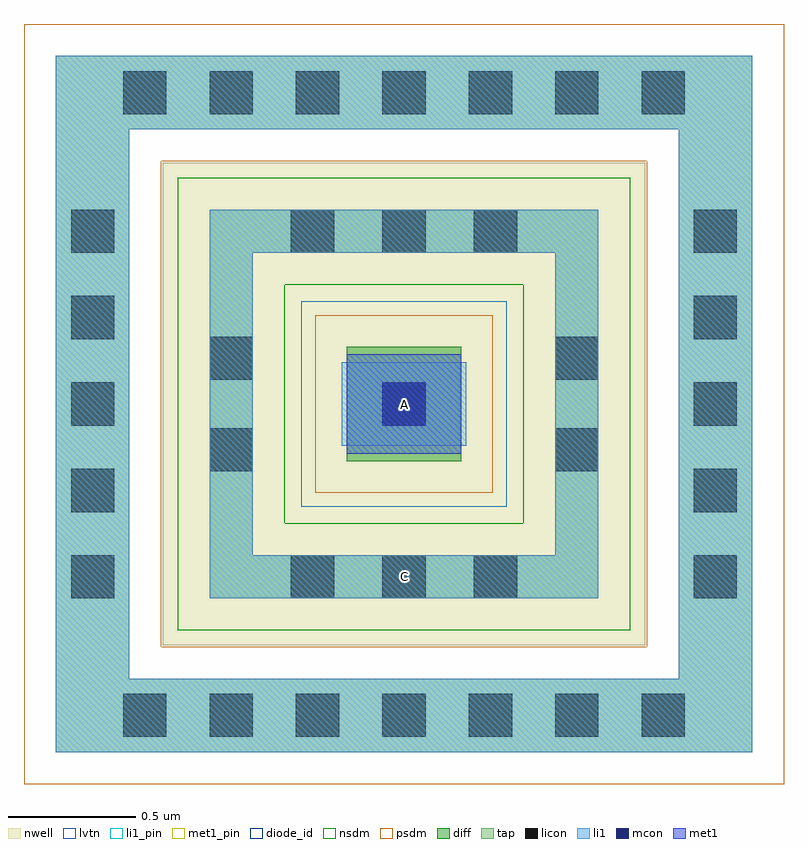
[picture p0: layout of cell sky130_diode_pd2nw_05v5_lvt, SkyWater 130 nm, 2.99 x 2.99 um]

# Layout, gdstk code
import gdstk
lib = gdstk.Library(unit=1e-6, precision=1e-09)
def R(c, l, rs):  # rectangles x0, y0, x1, y1
    for r in rs: c.add(gdstk.rectangle(r[:2], r[2:], *l))
def A(c, l, x, y, w, h, nx, ny, dx, dy):  # array of equal rectangles
    R(c, l, [(x+i*dx, y+j*dy, x+i*dx+w, y+j*dy+h) for i in range(nx) for j in range(ny)])
def P(c, l, *ps):  # polygons
    for p in ps: c.add(gdstk.Polygon(p, *l))
nwell = (64, 20)
diff = (65, 20)
tap = (65, 44)
licon = (66, 44)
li1_pin = (67, 16)
li1 = (67, 20)
mcon = (67, 44)
met1_pin = (68, 16)
met1 = (68, 20)
diode_id = (81, 23)
nsdm = (93, 44)
psdm = (94, 20)
lvtn = (125, 44)

sky130_diode_pd2nw_05v5_ = lib.new_cell('sky130_diode_pd2nw_05v5_lvt')
R(sky130_diode_pd2nw_05v5_, nwell, [(-0.725,-0.725,1.175,1.175)])
R(sky130_diode_pd2nw_05v5_, diff, [(0,0,0.45,0.45)])
P(sky130_diode_pd2nw_05v5_, tap, [(-0.54,-0.54),(-0.54,0.82),(-0.37,0.82),(-0.37,-0.37),(0.82,-0.37),(0.82,0.82),(-0.54,0.82),(-0.54,0.99),(0.99,0.99),(0.99,-0.54)],
  [(-1.145,-1.145),(-1.145,1.305),(-0.855,1.305),(-0.855,-0.855),(1.305,-0.855),(1.305,1.305),(-1.145,1.305),(-1.145,1.595),(1.595,1.595),(1.595,-1.145)])
A(sky130_diode_pd2nw_05v5_, licon, -0.88, -1.085, 0.17, 0.17, 7, 2, 0.34, 2.45)
A(sky130_diode_pd2nw_05v5_, licon, -0.22, -0.54, 0.17, 0.17, 3, 2, 0.36, 1.36)
A(sky130_diode_pd2nw_05v5_, licon, -1.085, 0.14, 0.17, 0.17, 3, 1, 1.225, 0)
R(sky130_diode_pd2nw_05v5_, licon, [(-1.085,-0.54,-0.915,-0.37), (1.365,-0.54,1.535,-0.37), (-1.085,-0.2,-0.915,-0.03), (1.365,-0.2,1.535,-0.03), (-0.54,-0.04,-0.37,0.13), (0.82,-0.04,0.99,0.13), (-0.54,0.32,-0.37,0.49), (0.82,0.32,0.99,0.49), (-1.085,0.48,-0.915,0.65), (1.365,0.48,1.535,0.65), (-1.085,0.82,-0.915,0.99), (1.365,0.82,1.535,0.99)])
R(sky130_diode_pd2nw_05v5_, li1_pin, [(0.14,-0.54,0.31,-0.37)])
R(sky130_diode_pd2nw_05v5_, li1, [(-0.02,0.06,0.47,0.39)])
P(sky130_diode_pd2nw_05v5_, li1, [(-0.54,-0.54),(-0.54,0.82),(-0.37,0.82),(-0.37,-0.37),(0.82,-0.37),(0.82,0.82),(-0.54,0.82),(-0.54,0.99),(0.99,0.99),(0.99,-0.54)],
  [(-1.145,-1.145),(-1.145,1.305),(-0.855,1.305),(-0.855,-0.855),(1.305,-0.855),(1.305,1.305),(-1.145,1.305),(-1.145,1.595),(1.595,1.595),(1.595,-1.145)])
R(sky130_diode_pd2nw_05v5_, mcon, [(0.14,0.14,0.31,0.31)])
R(sky130_diode_pd2nw_05v5_, met1_pin, [(0.14,0.14,0.31,0.31)])
R(sky130_diode_pd2nw_05v5_, met1, [(0,0.03,0.45,0.42)])
R(sky130_diode_pd2nw_05v5_, diode_id, [(0,0,0.45,0.45)])
P(sky130_diode_pd2nw_05v5_, nsdm, [(-0.665,-0.665),(-0.665,0.695),(-0.245,0.695),(-0.245,-0.245),(0.695,-0.245),(0.695,0.695),(-0.665,0.695),(-0.665,1.115),(1.115,1.115),(1.115,-0.665)])
R(sky130_diode_pd2nw_05v5_, psdm, [(-0.125,-0.125,0.575,0.575)])
P(sky130_diode_pd2nw_05v5_, psdm, [(-1.27,-1.27),(-1.27,1.18),(-0.73,1.18),(-0.73,-0.73),(1.18,-0.73),(1.18,1.18),(-1.27,1.18),(-1.27,1.72),(1.72,1.72),(1.72,-1.27)])
R(sky130_diode_pd2nw_05v5_, lvtn, [(-0.18,-0.18,0.63,0.63)])
sky130_diode_pd2nw_05v5_.add(gdstk.Label('A', (0.225,0.225), layer=68, texttype=5))
sky130_diode_pd2nw_05v5_.add(gdstk.Label('C', (0.225,-0.455), layer=67, texttype=5))

lib.write_gds('sky130_diode_pd2nw_05v5_lvt.gds')
